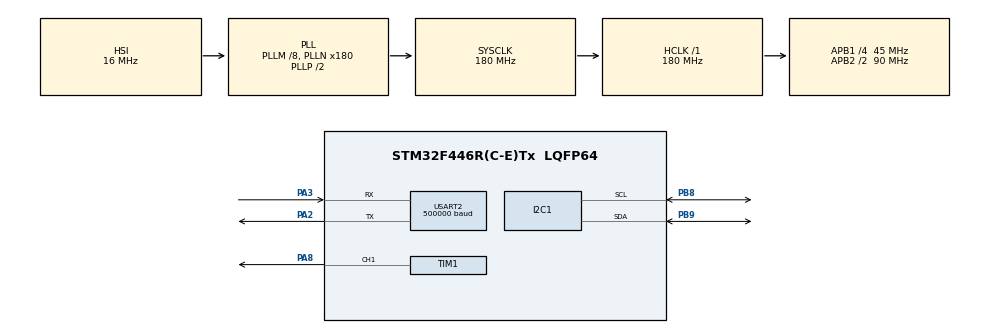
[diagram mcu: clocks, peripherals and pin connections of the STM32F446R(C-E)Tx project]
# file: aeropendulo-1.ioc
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I2C1.I2C_Mode=I2C_Standard
Mcu.Family=STM32F4
Mcu.Name=STM32F446R(C-E)Tx
Mcu.Package=LQFP64
NVIC.PriorityGroup=NVIC_PRIORITYGROUP_4
NVIC.TIM6_DAC_IRQn=true\:0\:0\:false\:false\:true\:true\:true\:true
NVIC.USART2_IRQn=true\:0\:0\:false\:false\:true\:true\:true\:true
PA2.Mode=Asynchronous
PA2.Signal=USART2_TX
PA3.Mode=Asynchronous
PA3.Signal=USART2_RX
PA8.Signal=S_TIM1_CH1
PB8.Mode=I2C
PB8.Signal=I2C1_SCL
PB9.Mode=I2C
PB9.Signal=I2C1_SDA
PH0-OSC_IN.Mode=HSE-External-Oscillator
PH0-OSC_IN.Signal=RCC_OSC_IN
PH1-OSC_OUT.Mode=HSE-External-Oscillator
PH1-OSC_OUT.Signal=RCC_OSC_OUT
ProjectManager.HeapSize=0x800
ProjectManager.StackSize=0x1000
ProjectManager.TargetToolchain=STM32CubeIDE
RCC.AHBFreq_Value=180000000
RCC.APB1CLKDivider=RCC_HCLK_DIV4
RCC.APB1Freq_Value=45000000
RCC.APB1TimFreq_Value=90000000
RCC.APB2CLKDivider=RCC_HCLK_DIV2
RCC.APB2Freq_Value=90000000
RCC.APB2TimFreq_Value=180000000
RCC.CortexFreq_Value=180000000
RCC.HCLKFreq_Value=180000000
RCC.HSE_VALUE=25000000
RCC.PLLM=8
RCC.PLLN=180
RCC.SYSCLKFreq_VALUE=180000000
RCC.SYSCLKSource=RCC_SYSCLKSOURCE_PLLCLK
RCC.USBFreq_Value=180000000
RCC.VCOOutputFreq_Value=360000000
SH.S_TIM1_CH1.0=TIM1_CH1,PWM Generation1 CH1
STMicroelectronics.X-CUBE-AI.10.2.0.ActivationBufferSizeList=2844
STMicroelectronics.X-CUBE-AI.10.2.0.ActivationBuffers=pool0
STMicroelectronics.X-CUBE-AI.10.2.0.ActivationNames=pool0
STMicroelectronics.X-CUBE-AI.10.2.0.ActivationSizes=AI_NETWORK_DATA_ACTIVATION_1_SIZE
STMicroelectronics.X-CUBE-AI.10.2.0.ApplicationCcDeviceJjApplication=Validation
STMicroelectronics.X-CUBE-AI.10.2.0.BSP.number=1
STMicroelectronics.X-CUBE-AI.10.2.0.HeapSize=0x800
STMicroelectronics.X-CUBE-AI.10.2.0.InternalRamActivationBufferMaxSize=AI_NETWORK_DATA_ACTIVATIONS_SIZE
STMicroelectronics.X-CUBE-AI.10.2.0.LatestDirectoryUsed-5e788897aa0fba42dd31fd06b56fdb91c0f4bd5b34f525b4f7bb81cb54c3cbea=C\:\\Users\\vicio\\Documents\\AEROPENDULO\\data\\experimentos_novos\\EXP001_otimizacao_narx\\3_sil_stm32
STMicroelectronics.X-CUBE-AI.10.2.0.MaximumNumberOfInputLayer=1
STMicroelectronics.X-CUBE-AI.10.2.0.MaximumNumberOfOutputLayer=1
STMicroelectronics.X-CUBE-AI.10.2.0.MaximumSizeOfInputLayer=1
STMicroelectronics.X-CUBE-AI.10.2.0.MaximumSizeOfOutputLayer=1
STMicroelectronics.X-CUBE-AI.10.2.0.ModelActualCompression-5e788897aa0fba42dd31fd06b56fdb91c0f4bd5b34f525b4f7bb81cb54c3cbea=0.0
STMicroelectronics.X-CUBE-AI.10.2.0.ModelCompression-5e788897aa0fba42dd31fd06b56fdb91c0f4bd5b34f525b4f7bb81cb54c3cbea=None
STMicroelectronics.X-CUBE-AI.10.2.0.ModelFlashOccupation-5e788897aa0fba42dd31fd06b56fdb91c0f4bd5b34f525b4f7bb81cb54c3cbea=0
STMicroelectronics.X-CUBE-AI.10.2.0.ModelHashList=5e788897aa0fba42dd31fd06b56fdb91c0f4bd5b34f525b4f7bb81cb54c3cbea
STMicroelectronics.X-CUBE-AI.10.2.0.ModelKind-5e788897aa0fba42dd31fd06b56fdb91c0f4bd5b34f525b4f7bb81cb54c3cbea=ONNX
STMicroelectronics.X-CUBE-AI.10.2.0.ModelMacc-5e788897aa0fba42dd31fd06b56fdb91c0f4bd5b34f525b4f7bb81cb54c3cbea=33665
STMicroelectronics.X-CUBE-AI.10.2.0.ModelName-5e788897aa0fba42dd31fd06b56fdb91c0f4bd5b34f525b4f7bb81cb54c3cbea=network
STMicroelectronics.X-CUBE-AI.10.2.0.ModelNameList=network
STMicroelectronics.X-CUBE-AI.10.2.0.ModelRamOccupation-5e788897aa0fba42dd31fd06b56fdb91c0f4bd5b34f525b4f7bb81cb54c3cbea=0
STMicroelectronics.X-CUBE-AI.10.2.0.ModelStructureFile-5e788897aa0fba42dd31fd06b56fdb91c0f4bd5b34f525b4f7bb81cb54c3cbea=C\:\\Users\\vicio\\Documents\\AEROPENDULO\\data\\experimentos_novos\\EXP001_otimizacao_narx\\3_sil_stm32\\ann_model.onnx
STMicroelectronics.X-CUBE-AI.10.2.0.ModelType-5e788897aa0fba42dd31fd06b56fdb91c0f4bd5b34f525b4f7bb81cb54c3cbea=STM32Cube.AI MCU runtime
STMicroelectronics.X-CUBE-AI.10.2.0.ReadyForCodeGeneration=true
STMicroelectronics.X-CUBE-AI.10.2.0.StackSize=0x1000
STMicroelectronics.X-CUBE-AI.10.2.0.WorkingBufferStartAddrList=0xFFFFFFFF
STMicroelectronics.X-CUBE-AI.10.2.0.XAaCUBEAaAICcArtificialOoIntelligenceJjCore=true
STMicroelectronics.X-CUBE-AI.10.2.0.copyWeightToRam=false
STMicroelectronics.X-CUBE-AI.10.2.0.customLayerConfigEnabled=false
STMicroelectronics.X-CUBE-AI.10.2.0.noOnnxIoTranspose=false
STMicroelectronics.X-CUBE-AI.10.2.0.optimization=time
STMicroelectronics.X-CUBE-AI.10.2.0.useInputAllocation=true
STMicroelectronics.X-CUBE-AI.10.2.0.useOutputAllocation=true
STMicroelectronics.X-CUBE-AI.10.2.00.BSP.STBoard=false
STMicroelectronics.X-CUBE-AI.10.2.00.BSP.api=Unknown
STMicroelectronics.X-CUBE-AI.10.2.00.BSP.condition=\!SEMDeviceJjApplicationJjApplicationTemplate
STMicroelectronics.X-CUBE-AI.10.2.00.BSP.instance=USART2
STMicroelectronics.X-CUBE-AI.10.2.00.BSP.ip=USART
STMicroelectronics.X-CUBE-AI.10.2.00.BSP.mode=Asynchronous
STMicroelectronics.X-CUBE-AI.10.2.00.BSP.name=COM Port
STMicroelectronics.X-CUBE-AI.10.2.00.BSP.solution=USART2
TIM1.AutoReloadPreload=TIM_AUTORELOAD_PRELOAD_ENABLE
TIM1.Channel-PWM\ Generation1\ CH1=TIM_CHANNEL_1
TIM1.Period=19999
TIM1.Prescaler=179
TIM1.Pulse-PWM\ Generation1\ CH1=1500
TIM6.AutoReloadPreload=TIM_AUTORELOAD_PRELOAD_ENABLE
TIM6.Period=99
TIM6.Prescaler=8999
USART2.BaudRate=500000
USART2.VirtualMode=VM_ASYNC
VP_STMicroelectronics.X-CUBE-AI_VS_ArtificialOoIntelligenceJjXAaCUBEAaAI_10.2.0.Mode=ArtificialOoIntelligenceJjXAaCUBEAaAI
VP_STMicroelectronics.X-CUBE-AI_VS_DeviceJjApplication_10.2.0.Mode=DeviceJjApplication
VP_TIM1_VS_ClockSourceINT.Mode=Internal
VP_TIM6_VS_ClockSourceINT.Mode=Enable_Timer
board=custom

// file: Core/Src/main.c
/* USER CODE BEGIN Header */
/**
  ******************************************************************************
  * @file           : main.c
  * @brief          : Main program body
  ******************************************************************************
  * @attention
  *
  * Copyright (c) 2026 STMicroelectronics.
  * All rights reserved.
  *
  * This software is licensed under terms that can be found in the LICENSE file
  * in the root directory of this software component.
  * If no LICENSE file comes with this software, it is provided AS-IS.
  *
  ******************************************************************************
  */
/* USER CODE END Header */
#include "main.h"
#include "app_x-cube-ai.h"

/* USER CODE BEGIN Includes */
#include "aeropendulo_main.h"
/* USER CODE END Includes */

I2C_HandleTypeDef hi2c1;

TIM_HandleTypeDef htim1;
TIM_HandleTypeDef htim6;

UART_HandleTypeDef huart2;

void SystemClock_Config(void);
static void MX_GPIO_Init(void);
static void MX_I2C1_Init(void);
static void MX_TIM1_Init(void);
static void MX_TIM6_Init(void);
static void MX_USART2_UART_Init(void);

/* USER CODE BEGIN 0 */
void I2C_ClearBus(void) {
  GPIO_InitTypeDef GPIO_InitStruct = {0};

  __HAL_RCC_GPIOB_CLK_ENABLE();

  // Configura PB8 (SCL) e PB9 (SDA) temporariamente como saídas Open Drain
  GPIO_InitStruct.Pin = GPIO_PIN_8 | GPIO_PIN_9;
  GPIO_InitStruct.Mode = GPIO_MODE_OUTPUT_OD;
  GPIO_InitStruct.Pull = GPIO_NOPULL;
  GPIO_InitStruct.Speed = GPIO_SPEED_FREQ_LOW;
  HAL_GPIO_Init(GPIOB, &GPIO_InitStruct);

  // Libera os barramentos em nível alto
  HAL_GPIO_WritePin(GPIOB, GPIO_PIN_8 | GPIO_PIN_9, GPIO_PIN_SET);
  HAL_Delay(1);

  // 9 pulsos de clock falsos para fazer a IMU liberar o SDA caso esteja travada no meio de um byte
  for(int i = 0; i < 9; i++) {
    HAL_GPIO_WritePin(GPIOB, GPIO_PIN_8, GPIO_PIN_RESET); // SCL = 0
    HAL_Delay(1);
    HAL_GPIO_WritePin(GPIOB, GPIO_PIN_8, GPIO_PIN_SET);   // SCL = 1
    HAL_Delay(1);
  }

  // Envia a condição de STOP: SCL vai pra alto, e então SDA vai de baixo pra alto
  HAL_GPIO_WritePin(GPIOB, GPIO_PIN_9, GPIO_PIN_RESET); // SDA = 0
  HAL_Delay(1);
  HAL_GPIO_WritePin(GPIOB, GPIO_PIN_8, GPIO_PIN_SET);   // SCL = 1
  HAL_Delay(1);
  HAL_GPIO_WritePin(GPIOB, GPIO_PIN_9, GPIO_PIN_SET);   // SDA = 1
  HAL_Delay(1);

  // Força o reset de hardware do periférico I2C1
  __HAL_RCC_I2C1_FORCE_RESET();
  HAL_Delay(2);
  __HAL_RCC_I2C1_RELEASE_RESET();
  HAL_Delay(2);
}
/* USER CODE END 0 */

int main(void)
{

  /* MCU Configuration--------------------------------------------------------*/

  /* Reset of all peripherals, Initializes the Flash interface and the Systick. */
  HAL_Init();

  /* Configure the system clock */
  SystemClock_Config();

  /* USER CODE BEGIN SysInit */
  I2C_ClearBus(); // Destrava fisicamente a IMU antes de iniciar o periferico I2C
  /* USER CODE END SysInit */

  /* Initialize all configured peripherals */
  MX_GPIO_Init();
  MX_I2C1_Init();
  MX_TIM1_Init();
  MX_TIM6_Init();
  MX_USART2_UART_Init();
  /* MX_X_CUBE_AI_Init(); */
  /* USER CODE BEGIN 2 */
  aeropendulo_init();

  /* USER CODE END 2 */

  /* Infinite loop */
  while (1)
  {

    /* MX_X_CUBE_AI_Process(); */
    /* USER CODE BEGIN 3 */
    aeropendulo_loop();
  }
  /* USER CODE END 3 */
}

void SystemClock_Config(void)
{
  RCC_OscInitTypeDef RCC_OscInitStruct = {0};
  RCC_ClkInitTypeDef RCC_ClkInitStruct = {0};

  /** Configure the main internal regulator output voltage
  */
  __HAL_RCC_PWR_CLK_ENABLE();
  __HAL_PWR_VOLTAGESCALING_CONFIG(PWR_REGULATOR_VOLTAGE_SCALE1);

  /** Initializes the RCC Oscillators according to the specified parameters
  * in the RCC_OscInitTypeDef structure.
  */
  RCC_OscInitStruct.OscillatorType = RCC_OSCILLATORTYPE_HSI;
  RCC_OscInitStruct.HSIState = RCC_HSI_ON;
  RCC_OscInitStruct.HSICalibrationValue = RCC_HSICALIBRATION_DEFAULT;
  RCC_OscInitStruct.PLL.PLLState = RCC_PLL_ON;
  RCC_OscInitStruct.PLL.PLLSource = RCC_PLLSOURCE_HSI;
  RCC_OscInitStruct.PLL.PLLM = 8;
  RCC_OscInitStruct.PLL.PLLN = 180;
  RCC_OscInitStruct.PLL.PLLP = RCC_PLLP_DIV2;
  RCC_OscInitStruct.PLL.PLLQ = 2;
  RCC_OscInitStruct.PLL.PLLR = 2;
  if (HAL_RCC_OscConfig(&RCC_OscInitStruct) != HAL_OK)
  {
    Error_Handler();
  }

  /** Activate the Over-Drive mode
  */
  if (HAL_PWREx_EnableOverDrive() != HAL_OK)
  {
    Error_Handler();
  }

  /** Initializes the CPU, AHB and APB buses clocks
  */
  RCC_ClkInitStruct.ClockType = RCC_CLOCKTYPE_HCLK|RCC_CLOCKTYPE_SYSCLK
                              |RCC_CLOCKTYPE_PCLK1|RCC_CLOCKTYPE_PCLK2;
  RCC_ClkInitStruct.SYSCLKSource = RCC_SYSCLKSOURCE_PLLCLK;
  RCC_ClkInitStruct.AHBCLKDivider = RCC_SYSCLK_DIV1;
  RCC_ClkInitStruct.APB1CLKDivider = RCC_HCLK_DIV4;
  RCC_ClkInitStruct.APB2CLKDivider = RCC_HCLK_DIV2;

  if (HAL_RCC_ClockConfig(&RCC_ClkInitStruct, FLASH_LATENCY_5) != HAL_OK)
  {
    Error_Handler();
  }
}

static void MX_I2C1_Init(void)
{

  hi2c1.Instance = I2C1;
  hi2c1.Init.ClockSpeed = 100000;
  hi2c1.Init.DutyCycle = I2C_DUTYCYCLE_2;
  hi2c1.Init.OwnAddress1 = 0;
  hi2c1.Init.AddressingMode = I2C_ADDRESSINGMODE_7BIT;
  hi2c1.Init.DualAddressMode = I2C_DUALADDRESS_DISABLE;
  hi2c1.Init.OwnAddress2 = 0;
  hi2c1.Init.GeneralCallMode = I2C_GENERALCALL_DISABLE;
  hi2c1.Init.NoStretchMode = I2C_NOSTRETCH_DISABLE;
  if (HAL_I2C_Init(&hi2c1) != HAL_OK)
  {
    Error_Handler();
  }

}

static void MX_TIM1_Init(void)
{

  TIM_ClockConfigTypeDef sClockSourceConfig = {0};
  TIM_MasterConfigTypeDef sMasterConfig = {0};
  TIM_OC_InitTypeDef sConfigOC = {0};
  TIM_BreakDeadTimeConfigTypeDef sBreakDeadTimeConfig = {0};

  htim1.Instance = TIM1;
  htim1.Init.Prescaler = 179;
  htim1.Init.CounterMode = TIM_COUNTERMODE_UP;
  htim1.Init.Period = 19999;
  htim1.Init.ClockDivision = TIM_CLOCKDIVISION_DIV1;
  htim1.Init.RepetitionCounter = 0;
  htim1.Init.AutoReloadPreload = TIM_AUTORELOAD_PRELOAD_ENABLE;
  if (HAL_TIM_Base_Init(&htim1) != HAL_OK)
  {
    Error_Handler();
  }
  sClockSourceConfig.ClockSource = TIM_CLOCKSOURCE_INTERNAL;
  if (HAL_TIM_ConfigClockSource(&htim1, &sClockSourceConfig) != HAL_OK)
  {
    Error_Handler();
  }
  if (HAL_TIM_PWM_Init(&htim1) != HAL_OK)
  {
    Error_Handler();
  }
  sMasterConfig.MasterOutputTrigger = TIM_TRGO_RESET;
  sMasterConfig.MasterSlaveMode = TIM_MASTERSLAVEMODE_DISABLE;
  if (HAL_TIMEx_MasterConfigSynchronization(&htim1, &sMasterConfig) != HAL_OK)
  {
    Error_Handler();
  }
  sConfigOC.OCMode = TIM_OCMODE_PWM1;
  sConfigOC.Pulse = 1500;
  sConfigOC.OCPolarity = TIM_OCPOLARITY_HIGH;
  sConfigOC.OCNPolarity = TIM_OCNPOLARITY_HIGH;
  sConfigOC.OCFastMode = TIM_OCFAST_DISABLE;
  sConfigOC.OCIdleState = TIM_OCIDLESTATE_RESET;
  sConfigOC.OCNIdleState = TIM_OCNIDLESTATE_RESET;
  if (HAL_TIM_PWM_ConfigChannel(&htim1, &sConfigOC, TIM_CHANNEL_1) != HAL_OK)
  {
    Error_Handler();
  }
  sBreakDeadTimeConfig.OffStateRunMode = TIM_OSSR_DISABLE;
  sBreakDeadTimeConfig.OffStateIDLEMode = TIM_OSSI_DISABLE;
  sBreakDeadTimeConfig.LockLevel = TIM_LOCKLEVEL_OFF;
  sBreakDeadTimeConfig.DeadTime = 0;
  sBreakDeadTimeConfig.BreakState = TIM_BREAK_DISABLE;
  sBreakDeadTimeConfig.BreakPolarity = TIM_BREAKPOLARITY_HIGH;
  sBreakDeadTimeConfig.AutomaticOutput = TIM_AUTOMATICOUTPUT_DISABLE;
  if (HAL_TIMEx_ConfigBreakDeadTime(&htim1, &sBreakDeadTimeConfig) != HAL_OK)
  {
    Error_Handler();
  }
  HAL_TIM_MspPostInit(&htim1);

}

static void MX_TIM6_Init(void)
{

  TIM_MasterConfigTypeDef sMasterConfig = {0};

  htim6.Instance = TIM6;
  htim6.Init.Prescaler = 8999;
  htim6.Init.CounterMode = TIM_COUNTERMODE_UP;
  htim6.Init.Period = 99;
  htim6.Init.AutoReloadPreload = TIM_AUTORELOAD_PRELOAD_ENABLE;
  if (HAL_TIM_Base_Init(&htim6) != HAL_OK)
  {
    Error_Handler();
  }
  sMasterConfig.MasterOutputTrigger = TIM_TRGO_RESET;
  sMasterConfig.MasterSlaveMode = TIM_MASTERSLAVEMODE_DISABLE;
  if (HAL_TIMEx_MasterConfigSynchronization(&htim6, &sMasterConfig) != HAL_OK)
  {
    Error_Handler();
  }

}

static void MX_USART2_UART_Init(void)
{

  huart2.Instance = USART2;
  huart2.Init.BaudRate = 500000;
  huart2.Init.WordLength = UART_WORDLENGTH_8B;
  huart2.Init.StopBits = UART_STOPBITS_1;
  huart2.Init.Parity = UART_PARITY_NONE;
  huart2.Init.Mode = UART_MODE_TX_RX;
  huart2.Init.HwFlowCtl = UART_HWCONTROL_NONE;
  huart2.Init.OverSampling = UART_OVERSAMPLING_16;
  if (HAL_UART_Init(&huart2) != HAL_OK)
  {
    Error_Handler();
  }

}

static void MX_GPIO_Init(void)
{

  /* GPIO Ports Clock Enable */
  __HAL_RCC_GPIOH_CLK_ENABLE();
  __HAL_RCC_GPIOA_CLK_ENABLE();
  __HAL_RCC_GPIOB_CLK_ENABLE();

}

void Error_Handler(void)
{
  __disable_irq();
  while (1)
  {
  }
}
